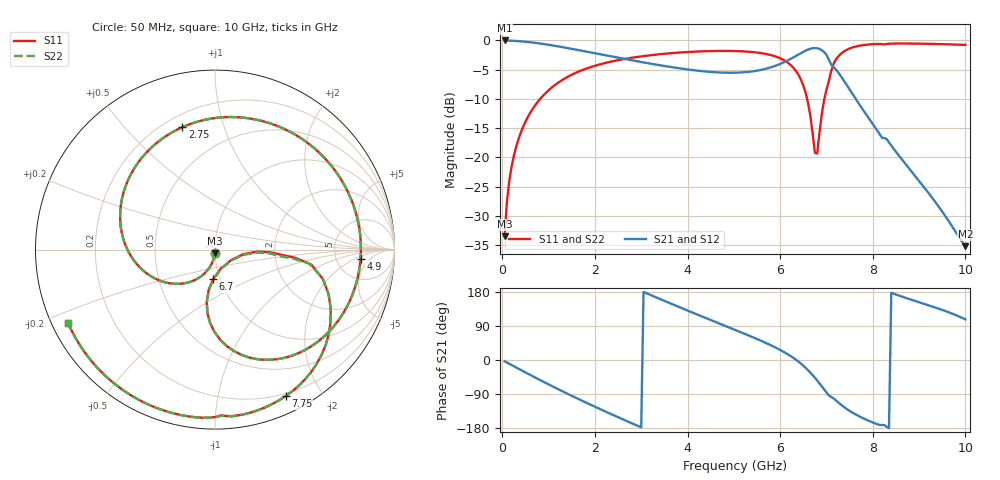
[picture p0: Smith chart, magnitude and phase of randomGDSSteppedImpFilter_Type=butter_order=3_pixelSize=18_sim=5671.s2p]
! freq	dB(S11)	phase(S11)	dB(S12)	phase(S12)
!  dB(S21)	phase(S21)	dB(S22)	phase(S22)
!S-par simulation data
#  GHz  S  DB  R 50
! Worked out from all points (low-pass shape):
!   200 points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, 50 MHz to 10 GHz, reference 50 ohm
!   highest |S21| = -0.01 dB at 50 MHz (marker M1); lowest = -35.2 dB at 10 GHz (marker M2)
!   |S21| within 3 dB of the highest: start of sweep to 2.529 GHz; 6.262 GHz to 7.034 GHz (772.4 MHz wide, 11.6 % of centre)
!   lowest |S11| = -33.5 dB at 50 MHz (marker M3), VSWR 1.04, Z = 49.8 - j2.1 ohm
!   |S11| at or under -10 dB: start of sweep to 818.6 MHz; 6.582 GHz to 6.954 GHz (372.3 MHz wide, 5.5 % of centre)
!   |S22| runs from -33.5 to -0.5 dB; largest |S21 - S12| = 0
!   S11 on the Smith chart (normalised r, x): 50 MHz: 1.00, -0.04; 2.75 GHz: 0.27, +0.73; 4.9 GHz: 8.84, -2.70; 6.7 GHz: 0.93, -0.31; 7.75 GHz: 0.17, -1.58; 10 GHz: 0.05, -0.23
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0.05  -33.51 -93.1  -0.01 -3.4  -0.01 -3.4  -33.51 -93.1
0.1  -27.55 -96.7  -0.02 -6.7  -0.02 -6.7  -27.55 -96.7
0.2  -21.61 -103.5  -0.05 -13.3  -0.05 -13.3  -21.61 -103.5
0.5  -13.90 -123.3  -0.23 -32.8  -0.23 -32.8  -13.90 -123.3
1.1  -7.85 -161.3  -0.88 -70.6  -0.88 -70.6  -7.85 -161.3
1.75  -5.01 160.2  -1.82 -109.1  -1.82 -109.1  -5.01 160.2
2.25  -3.81 132.1  -2.59 -137.3  -2.59 -137.3  -3.81 132.0
2.75  -3.02 104.9  -3.34 -164.5  -3.34 -164.5  -3.02 104.8
3.4  -2.36 70.7  -4.24 161.2  -4.24 161.2  -2.36 70.6
4.2  -1.91 30.3  -5.16 120.5  -5.16 120.5  -1.91 30.3
4.9  -1.80 -3.7  -5.53 85.8  -5.53 85.8  -1.80 -3.7
5.05  -1.83 -10.9  -5.52 78.4  -5.52 78.4  -1.83 -10.9
6.05  -3.23 -62.9  -3.85 23.3  -3.85 23.3  -3.23 -63.0
6.45  -6.73 -90.2  -2.16 -9.7  -2.16 -9.7  -6.72 -90.2
6.7  -15.76 -93.4  -1.33 -39.7  -1.33 -39.7  -15.69 -93.0
6.8  -19.34 -31.8  -1.34 -54.1  -1.34 -54.1  -19.16 -32.8
6.95  -10.15 -2.8  -1.99 -77.5  -1.99 -77.5  -10.21 -4.1
7.2  -3.32 -21.8  -4.93 -106.2  -4.93 -106.2  -3.38 -21.1
7.75  -0.86 -64.2  -11.41 -151.2  -11.41 -151.2  -0.86 -64.0
8.35  -0.57 -91.7  -17.43 -179.9  -17.43 -179.9  -0.56 -91.7
9.1  -0.57 -120.3  -25.01 148.4  -25.01 148.4  -0.57 -120.2
10  -0.77 -153.5  -35.17 107.3  -35.17 107.3  -0.77 -153.4
